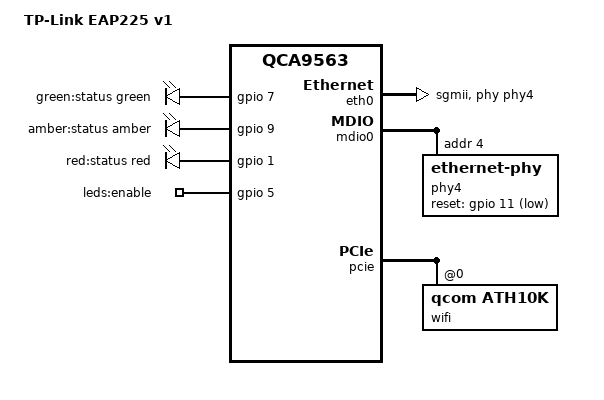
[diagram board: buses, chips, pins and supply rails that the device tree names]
// SPDX-License-Identifier: GPL-2.0-or-later OR MIT

#include <dt-bindings/leds/common.h>
#include "qca9563_tplink_eap2x5-1port.dtsi"

/ {
	compatible = "tplink,eap225-v1", "qca,qca9563";
	model = "TP-Link EAP225 v1";

	aliases {
		led-boot = &led_status_green;
		led-failsafe = &led_status_amber;
		led-running = &led_status_green;
		led-upgrade = &led_status_amber;
	};

	leds {
		compatible = "gpio-leds";

		led_status_green: led-0 {
			label = "green:status";
			color = <LED_COLOR_ID_GREEN>;
			function = LED_FUNCTION_STATUS;
			gpios = <&gpio 7 GPIO_ACTIVE_HIGH>;
			default-state = "on";
		};

		led_status_amber: led-1 {
			label = "amber:status";
			color = <LED_COLOR_ID_AMBER>;
			function = LED_FUNCTION_STATUS;
			gpios = <&gpio 9 GPIO_ACTIVE_HIGH>;
		};

		led_status_red: led-2 {
			label = "red:status";
			color = <LED_COLOR_ID_RED>;
			function = LED_FUNCTION_STATUS;
			gpios = <&gpio 1 GPIO_ACTIVE_HIGH>;
		};
	};

	gpio-export {
		compatible = "gpio-export";
		led_enable {
			gpio-export,name = "leds:enable";
			gpio-export,output = <1>;
			gpios = <&gpio 5 GPIO_ACTIVE_HIGH>;
		};
	};
};

&art {
	nvmem-layout {
		compatible = "fixed-layout";
		#address-cells = <1>;
		#size-cells = <1>;

		macaddr_info_8: macaddr@8 {
			compatible = "mac-base";
			reg = <0x8 0x6>;
			#nvmem-cell-cells = <1>;
		};

		calibration_ath10k: calibration@5000 {
			reg = <0x5000 0x844>;
		};
	};
};

&eth0 {
	phy-handle = <&phy4>;
	phy-mode = "sgmii";
};

&mdio0 {
	phy4: ethernet-phy@4 {
		reg = <4>;
		reset-gpios = <&gpio 11 GPIO_ACTIVE_LOW>;
	};
};

&pcie {
	wifi@0,0 {
		compatible = "qcom,ath10k";
		reg = <0 0 0 0 0>;

		nvmem-cells = <&macaddr_info_8 1>, <&calibration_ath10k>;
		nvmem-cell-names = "mac-address", "calibration";
	};
};
